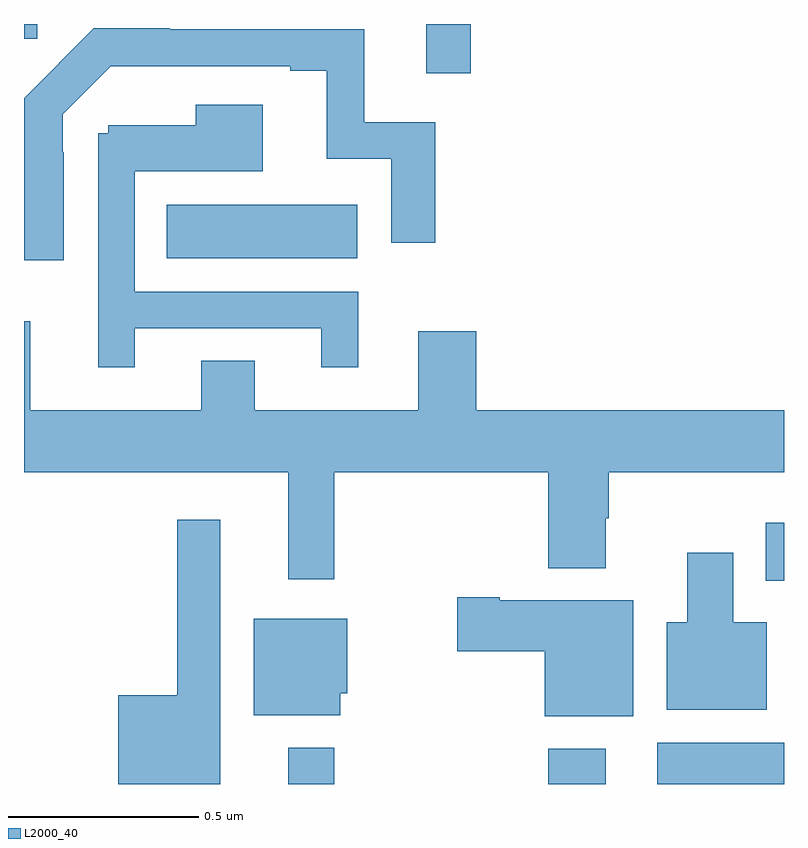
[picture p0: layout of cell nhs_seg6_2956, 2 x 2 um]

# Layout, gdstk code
import gdstk
lib = gdstk.Library(unit=1e-6, precision=1e-09)
def R(c, l, rs):  # rectangles x0, y0, x1, y1
    for r in rs: c.add(gdstk.rectangle(r[:2], r[2:], *l))
def P(c, l, *ps):  # polygons
    for p in ps: c.add(gdstk.Polygon(p, *l))
L2000_40 = (2000, 40)

nhs_seg6_2956 = lib.new_cell('nhs_seg6_2956')
R(nhs_seg6_2956, L2000_40, [(150.695,962.5,150.817,962.596), (151.379,962.5,151.531,962.593), (151.667,962.5,152,962.608), (151.952,963.035,152,963.187), (150.376,963.884,150.877,964.024), (151.058,964.371,151.175,964.5), (150,964.461,150.035,964.5)])
P(nhs_seg6_2956, L2000_40, [(150.105,964.163),(150.102,964.163),(150.102,964.263),(150.228,964.389),(150.701,964.389),(150.701,964.377),(150.797,964.377),(150.797,964.146),(150.966,964.146),(150.966,963.924),(151.082,963.924),(151.082,964.242),(150.895,964.242),(150.895,964.486),(150.383,964.486),(150.383,964.489),(150.184,964.489),(150,964.304),(150,963.878),(150.105,963.878)],
  [(150.292,963.699),(150.782,963.699),(150.782,963.597),(150.88,963.597),(150.88,963.795),(150.291,963.795),(150.291,964.112),(150.628,964.112),(150.628,964.288),(150.452,964.288),(150.452,964.234),(150.222,964.234),(150.222,964.212),(150.195,964.212),(150.195,963.597),(150.292,963.597)],
  [(150.817,963.32),(151.379,963.32),(151.379,963.068),(151.531,963.068),(151.531,963.2),(151.539,963.2),(151.539,963.32),(152,963.32),(152,963.484),(151.19,963.484),(151.19,963.691),(151.037,963.691),(151.037,963.484),(150.607,963.484),(150.607,963.614),(150.467,963.614),(150.467,963.484),(150.017,963.484),(150.017,963.718),(150,963.718),(150,963.32),(150.695,963.32),(150.695,963.039),(150.817,963.039)],
  [(150.517,963.196),(150.403,963.196),(150.403,962.734),(150.248,962.734),(150.248,962.5),(150.517,962.5)],
  [(151.954,962.926),(151.867,962.926),(151.867,963.109),(151.745,963.109),(151.745,962.926),(151.691,962.926),(151.691,962.696),(151.954,962.696)],
  [(151.603,962.983),(151.252,962.983),(151.252,962.991),(151.14,962.991),(151.14,962.849),(151.37,962.849),(151.37,962.678),(151.603,962.678)],
  [(150.832,962.739),(150.85,962.739),(150.85,962.935),(150.605,962.935),(150.605,962.681),(150.832,962.681)])

lib.write_gds('nhs_seg6_2956.gds')
